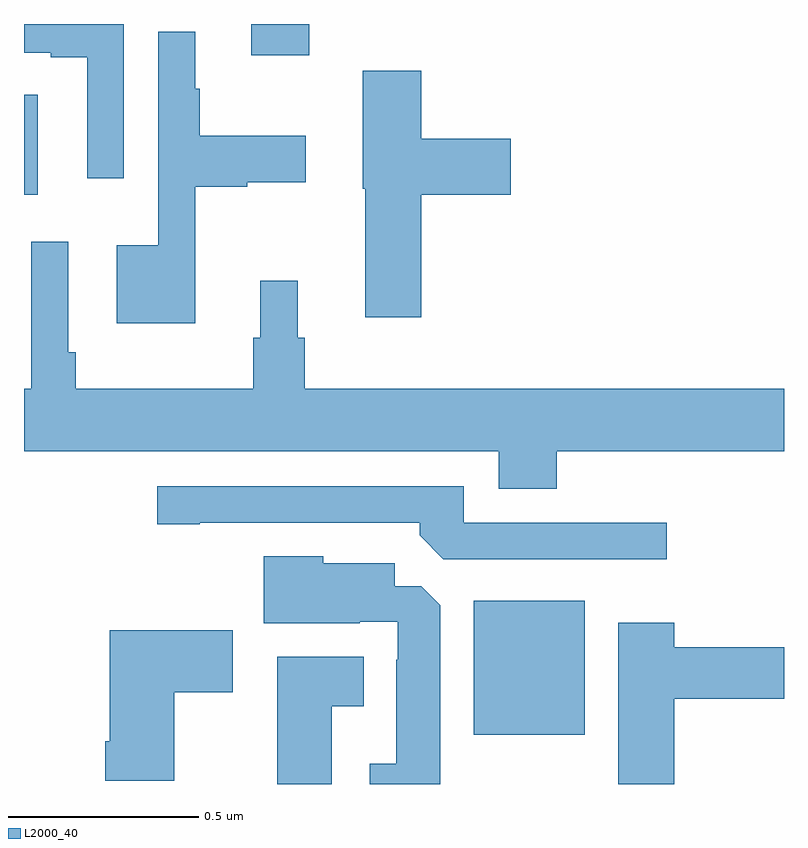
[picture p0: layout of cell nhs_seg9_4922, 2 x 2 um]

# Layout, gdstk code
import gdstk
lib = gdstk.Library(unit=1e-6, precision=1e-09)
def R(c, l, rs):  # rectangles x0, y0, x1, y1
    for r in rs: c.add(gdstk.rectangle(r[:2], r[2:], *l))
def P(c, l, *ps):  # polygons
    for p in ps: c.add(gdstk.Polygon(p, *l))
L2000_40 = (2000, 40)

nhs_seg9_4922 = lib.new_cell('nhs_seg9_4922')
R(nhs_seg9_4922, L2000_40, [(173.183,1239.629,173.476,1239.982), (172,1241.051,172.036,1241.314), (172.598,1241.418,172.751,1241.5)])
P(nhs_seg9_4922, L2000_40, [(172.263,1241.5),(172,1241.5),(172,1241.424),(172.07,1241.424),(172.07,1241.412),(172.166,1241.412),(172.166,1241.094),(172.263,1241.094)],
  [(172.45,1241.072),(172.587,1241.072),(172.587,1241.084),(172.741,1241.084),(172.741,1241.206),(172.462,1241.206),(172.462,1241.33),(172.45,1241.33),(172.45,1241.479),(172.353,1241.479),(172.353,1240.918),(172.244,1240.918),(172.244,1240.712),(172.45,1240.712)],
  [(173.045,1241.051),(173.281,1241.051),(173.281,1241.198),(173.045,1241.198),(173.045,1241.377),(172.892,1241.377),(172.892,1241.067),(172.898,1241.067),(172.898,1240.728),(173.045,1240.728)],
  [(173.402,1240.376),(174,1240.376),(174,1240.54),(172.739,1240.54),(172.739,1240.674),(172.72,1240.674),(172.72,1240.825),(172.622,1240.825),(172.622,1240.674),(172.603,1240.674),(172.603,1240.54),(172.136,1240.54),(172.136,1240.636),(172.116,1240.636),(172.116,1240.927),(172.019,1240.927),(172.019,1240.54),(172,1240.54),(172,1240.376),(173.249,1240.376),(173.249,1240.277),(173.402,1240.277)],
  [(173.692,1240.188),(173.157,1240.188),(173.157,1240.284),(172.35,1240.284),(172.35,1240.183),(172.462,1240.183),(172.462,1240.188),(173.042,1240.188),(173.042,1240.154),(173.103,1240.092),(173.692,1240.092)],
  [(173.095,1239.971),(173.046,1240.02),(172.975,1240.02),(172.975,1240.081),(172.788,1240.081),(172.788,1240.099),(172.631,1240.099),(172.631,1239.923),(172.883,1239.923),(172.883,1239.927),(172.983,1239.927),(172.983,1239.827),(172.979,1239.827),(172.979,1239.553),(172.91,1239.553),(172.91,1239.5),(173.095,1239.5)],
  [(173.711,1239.724),(174,1239.724),(174,1239.86),(173.711,1239.86),(173.711,1239.925),(173.564,1239.925),(173.564,1239.5),(173.711,1239.5)],
  [(172.396,1239.742),(172.549,1239.742),(172.549,1239.904),(172.226,1239.904),(172.226,1239.613),(172.214,1239.613),(172.214,1239.509),(172.396,1239.509)],
  [(172.81,1239.704),(172.894,1239.704),(172.894,1239.835),(172.667,1239.835),(172.667,1239.5),(172.81,1239.5)])

lib.write_gds('nhs_seg9_4922.gds')
